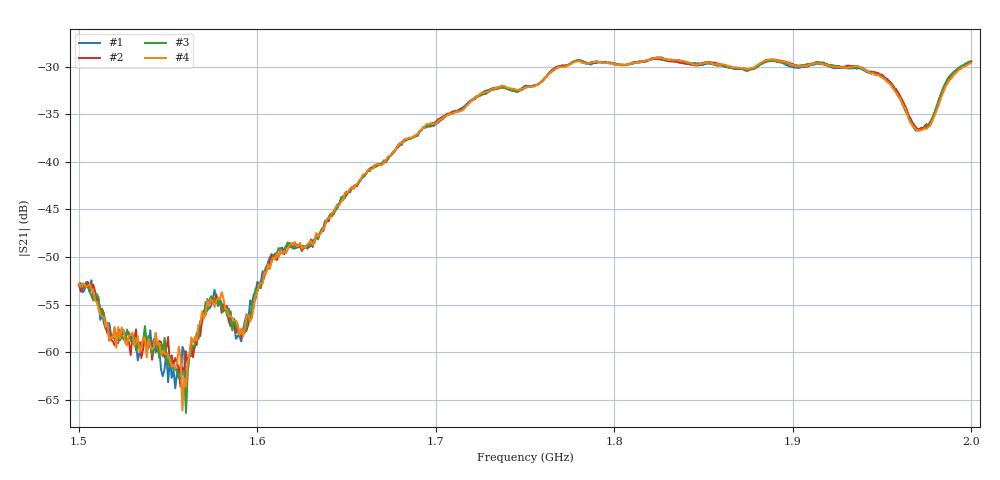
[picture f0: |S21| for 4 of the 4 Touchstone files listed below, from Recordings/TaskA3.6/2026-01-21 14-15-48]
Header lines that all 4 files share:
! NanoVNA-App by SYSJOINT et al v1.1.209 (+OD18)
! Start: 1,5GHz Stop: 2GHz Points: 501
! S-Parameter data: F S11 S21 S12 S22
# Hz S RI R 50
!  Frequency  S11_Real  S11_Imag  S21_Real  S21_Imag  S12_Real  S12_Imag  S22_Real  S22_Imag
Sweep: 1.5 GHz to 2 GHz
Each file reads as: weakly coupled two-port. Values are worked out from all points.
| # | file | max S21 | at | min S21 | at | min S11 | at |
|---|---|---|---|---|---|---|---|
| 1 | 0.s2p | -29.17 dB | 1.824 GHz | -65.1 dB | 1.56 GHz | -30.0 dB | 1.816 GHz |
| 2 | 1.s2p | -29.16 dB | 1.822 GHz | -63.6 dB | 1.557 GHz | -30.1 dB | 1.817 GHz |
| 3 | 2.s2p | -29.02 dB | 1.824 GHz | -66.4 dB | 1.56 GHz | -30.4 dB | 1.816 GHz |
| 4 | 3.s2p | -29.03 dB | 1.825 GHz | -66.1 dB | 1.558 GHz | -30.4 dB | 1.816 GHz |
